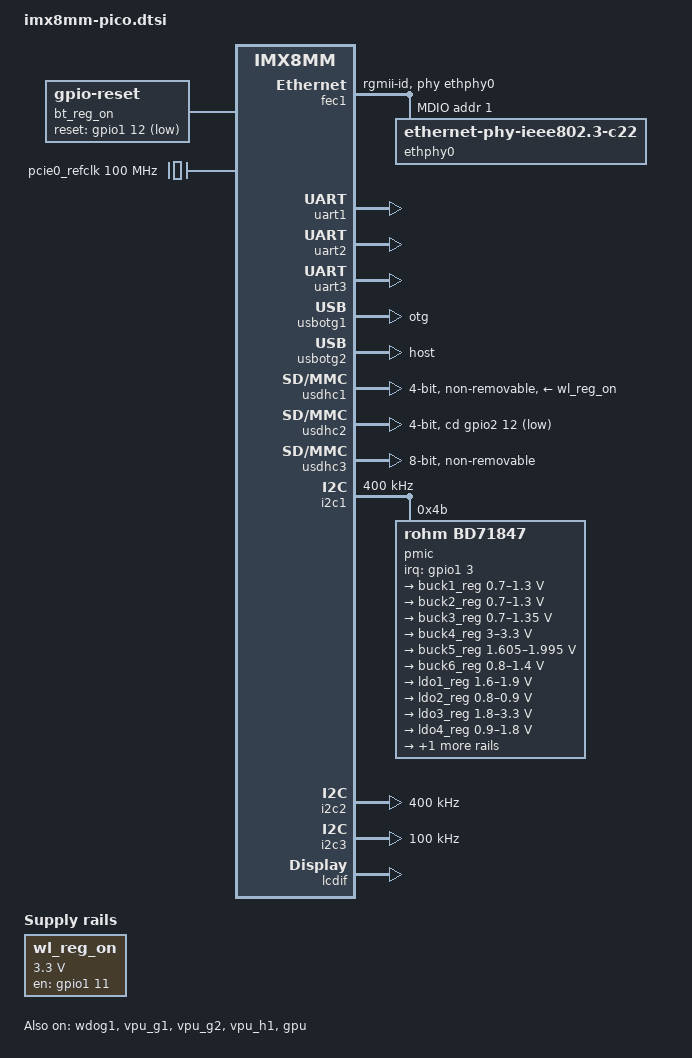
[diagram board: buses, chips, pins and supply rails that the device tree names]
// SPDX-License-Identifier: (GPL-2.0+ OR MIT)
/*
 * Copyright 2020 Technexion Ltd.
 *
 * Author: Richard Hu <richard.hu@technexion.com>
 *
 */

/dts-v1/;

#include <dt-bindings/usb/pd.h>
#include "imx8mm.dtsi"

/ {
	reserved-memory {
		#address-cells = <2>;
		#size-cells = <2>;
		ranges;

		rpmsg_reserved: rpmsg@b8000000 {
			no-map;
			reg = <0 0xb8000000 0 0x400000>;
		};
	};

	chosen {
		stdout-path = &uart2;
	};

	bt_reg_on: btreg_on {
		compatible = "gpio-reset";
		pinctrl-names = "default";
		pinctrl-0 = <&pinctrl_bt_ctrl>;
		reset-gpios = <&gpio1 12 GPIO_ACTIVE_LOW>;
		reset-delay-us = <2000>;
		reset-post-delay-ms = <40>;
		#reset-cells = <0>;
	};

	pcie0_refclk: pcie0-refclk {
		compatible = "fixed-clock";
		#clock-cells = <0>;
		clock-frequency = <100000000>;
	};

	regulators {
		compatible = "simple-bus";
		#address-cells = <1>;
		#size-cells = <0>;

		wl_reg_on: wlreg_on {
			compatible = "regulator-fixed";
			pinctrl-names = "default";
			pinctrl-0 = <&pinctrl_wifi_ctrl>;
			regulator-name = "WL_REG_ON";
			regulator-min-microvolt = <3300000>;
			regulator-max-microvolt = <3300000>;
			gpio = <&gpio1 11 GPIO_ACTIVE_HIGH>;
			off-on-delay = <20000>;
			startup-delay-us = <100>;
			enable-active-high;
		};
	};
};

&A53_0 {
	cpu-supply = <&buck2_reg>;
};

&fec1 {
	pinctrl-names = "default";
	pinctrl-0 = <&pinctrl_fec1>;
	phy-mode = "rgmii-id";
	phy-handle = <&ethphy0>;
	fsl,magic-packet;
	status = "okay";

	mdio {
		#address-cells = <1>;
		#size-cells = <0>;

		ethphy0: ethernet-phy@0 {
			compatible = "ethernet-phy-ieee802.3-c22";
			reg = <1>;
			at803x,led-act-blind-workaround;
			at803x,eee-disabled;
		};
	};
};

&pcie0{
	clocks = <&clk IMX8MM_CLK_PCIE1_ROOT>,
		 <&clk IMX8MM_CLK_PCIE1_AUX>,
		 <&clk IMX8MM_CLK_PCIE1_PHY>,
		 <&pcie0_refclk>;
	clock-names = "pcie", "pcie_aux", "pcie_phy", "pcie_bus";
	ext_osc = <0>;
	reserved-region = <&rpmsg_reserved>;
	status = "disabled";
};
&sai3 {
	pinctrl-names = "default";
	pinctrl-0 = <&pinctrl_sai3>;
	assigned-clocks = <&clk IMX8MM_CLK_SAI3>;
	assigned-clock-parents = <&clk IMX8MM_AUDIO_PLL1_OUT>;
	assigned-clock-rates = <24576000>;
	status = "disabled";
};

&sai2 {
	#sound-dai-cells = <0>;
	pinctrl-names = "default";
	pinctrl-0 = <&pinctrl_sai2>;
	assigned-clocks = <&clk IMX8MM_CLK_SAI2>;
	assigned-clock-parents = <&clk IMX8MM_AUDIO_PLL1_OUT>;
	assigned-clock-rates = <24576000>;
	status = "disabled";
};

&sai1 {
	pinctrl-names = "default", "dsd";
	pinctrl-0 = <&pinctrl_sai1>;
	assigned-clocks = <&clk IMX8MM_CLK_SAI1>;
	assigned-clock-parents = <&clk IMX8MM_AUDIO_PLL1_OUT>;
	assigned-clock-rates = <49152000>;
	clocks = <&clk IMX8MM_CLK_SAI1_IPG>, <&clk IMX8MM_CLK_DUMMY>,
		<&clk IMX8MM_CLK_SAI1_ROOT>, <&clk IMX8MM_CLK_DUMMY>,
		<&clk IMX8MM_CLK_DUMMY>, <&clk IMX8MM_AUDIO_PLL1_OUT>,
		<&clk IMX8MM_AUDIO_PLL2_OUT>;
	clock-names = "bus", "mclk0", "mclk1", "mclk2", "mclk3", "pll8k", "pll11k";
	status = "disabled";
};

&uart1 { /* BT */
	pinctrl-names = "default";
	pinctrl-0 = <&pinctrl_uart1>;
	assigned-clocks = <&clk IMX8MM_CLK_UART1>;
	assigned-clock-parents = <&clk IMX8MM_SYS_PLL1_80M>;
	fsl,uart-has-rtscts;
	resets = <&bt_reg_on>;
	status = "okay";
};

&uart2 { /* console */
	pinctrl-names = "default";
	pinctrl-0 = <&pinctrl_uart2>;
	status = "okay";
};

&uart3 {
	pinctrl-names = "default";
	pinctrl-0 = <&pinctrl_uart3>;
	assigned-clocks = <&clk IMX8MM_CLK_UART3>;
	assigned-clock-parents = <&clk IMX8MM_SYS_PLL1_80M>;
	fsl,uart-has-rtscts;
	status = "okay";
};

&usbotg1 {
	dr_mode = "otg";
	hnp-disable;
	srp-disable;
	adp-disable;
	usb-role-switch;
	picophy,pre-emp-curr-control = <3>;
	picophy,dc-vol-level-adjust = <7>;
	status = "okay";
};

&usbotg2 {
	dr_mode = "host";
	picophy,pre-emp-curr-control = <3>;
	picophy,dc-vol-level-adjust = <7>;
	status = "okay";
};

/* WIFI SDIO */
&usdhc1 {
	pinctrl-names = "default", "state_100mhz", "state_200mhz";
	pinctrl-0 = <&pinctrl_usdhc1>;
	pinctrl-1 = <&pinctrl_usdhc1_100mhz>;
	pinctrl-2 = <&pinctrl_usdhc1_200mhz>;
	bus-width = <4>;
	no-1-8-v;
	vmmc-supply = <&wl_reg_on>;
	pm-ignore-notify;
	keep-power-in-suspend;
	non-removable;
	status = "okay";
};

/* SD card on CLIX connector */
&usdhc2 {
	pinctrl-names = "default", "state_100mhz", "state_200mhz";
	pinctrl-0 = <&pinctrl_usdhc2>, <&pinctrl_usdhc2_gpio>;
	pinctrl-1 = <&pinctrl_usdhc2_100mhz>, <&pinctrl_usdhc2_gpio>;
	pinctrl-2 = <&pinctrl_usdhc2_200mhz>, <&pinctrl_usdhc2_gpio>;
	cd-gpios = <&gpio2 12 GPIO_ACTIVE_LOW>;
	bus-width = <4>;
	status = "okay";
};

/* eMMC on SOM */
&usdhc3 {
	pinctrl-names = "default", "state_100mhz", "state_200mhz";
	pinctrl-0 = <&pinctrl_usdhc3>;
	pinctrl-1 = <&pinctrl_usdhc3_100mhz>;
	pinctrl-2 = <&pinctrl_usdhc3_200mhz>;
	bus-width = <8>;
	non-removable;
	status = "okay";
};

&wdog1 {
	pinctrl-names = "default";
	pinctrl-0 = <&pinctrl_wdog>;
	fsl,ext-reset-output;
	status = "okay";
};

&ecspi2 {
	#address-cells = <1>;
	#size-cells = <0>;
	num-cs = <1>;
	pinctrl-names = "default";
	pinctrl-0 = <&pinctrl_ecspi2 &pinctrl_ecspi2_cs>;
	cs-gpios = <&gpio5 13 GPIO_ACTIVE_LOW>;
	status = "disabled";
};

&i2c1 {
	clock-frequency = <400000>;
	pinctrl-names = "default";
	pinctrl-0 = <&pinctrl_i2c1>;
	status = "okay";

	pmic@4b {
		compatible = "rohm,bd71847";
		reg = <0x4b>;
		pinctrl-0 = <&pinctrl_pmic>;
		interrupt-parent = <&gpio1>;
		interrupts = <3 GPIO_ACTIVE_LOW>;
		rohm,reset-snvs-powered;

		regulators {
			buck1_reg: BUCK1 {
				regulator-name = "BUCK1";
				regulator-min-microvolt = <700000>;
				regulator-max-microvolt = <1300000>;
				regulator-boot-on;
				regulator-always-on;
				regulator-ramp-delay = <1250>;
			};

			buck2_reg: BUCK2 {
				regulator-name = "BUCK2";
				regulator-min-microvolt = <700000>;
				regulator-max-microvolt = <1300000>;
				regulator-boot-on;
				regulator-always-on;
				regulator-ramp-delay = <1250>;
				rohm,dvs-run-voltage = <1000000>;
				rohm,dvs-idle-voltage = <900000>;
			};

			buck3_reg: BUCK3 {
				// BUCK5 in datasheet
				regulator-name = "BUCK3";
				regulator-min-microvolt = <700000>;
				regulator-max-microvolt = <1350000>;
				regulator-boot-on;
				regulator-always-on;
			};

			buck4_reg: BUCK4 {
				// BUCK6 in datasheet
				regulator-name = "BUCK4";
				regulator-min-microvolt = <3000000>;
				regulator-max-microvolt = <3300000>;
				regulator-boot-on;
				regulator-always-on;
			};

			buck5_reg: BUCK5 {
				// BUCK7 in datasheet
				regulator-name = "BUCK5";
				regulator-min-microvolt = <1605000>;
				regulator-max-microvolt = <1995000>;
				regulator-boot-on;
				regulator-always-on;
			};

			buck6_reg: BUCK6 {
				// BUCK8 in datasheet
				regulator-name = "BUCK6";
				regulator-min-microvolt = <800000>;
				regulator-max-microvolt = <1400000>;
				regulator-boot-on;
				regulator-always-on;
			};

			ldo1_reg: LDO1 {
				regulator-name = "LDO1";
				regulator-min-microvolt = <1600000>;
				regulator-max-microvolt = <1900000>;
				regulator-boot-on;
				regulator-always-on;
			};

			ldo2_reg: LDO2 {
				regulator-name = "LDO2";
				regulator-min-microvolt = <800000>;
				regulator-max-microvolt = <900000>;
				regulator-boot-on;
				regulator-always-on;
			};

			ldo3_reg: LDO3 {
				regulator-name = "LDO3";
				regulator-min-microvolt = <1800000>;
				regulator-max-microvolt = <3300000>;
				regulator-boot-on;
				regulator-always-on;
			};

			ldo4_reg: LDO4 {
				regulator-name = "LDO4";
				regulator-min-microvolt = <900000>;
				regulator-max-microvolt = <1800000>;
				regulator-boot-on;
				regulator-always-on;
			};

			ldo6_reg: LDO6 {
				regulator-name = "LDO6";
				regulator-min-microvolt = <900000>;
				regulator-max-microvolt = <1800000>;
				regulator-boot-on;
				regulator-always-on;
			};
		};
	};
};

&i2c2 {
	clock-frequency = <400000>;
	pinctrl-names = "default";
	pinctrl-0 = <&pinctrl_i2c2>;
	status = "okay";
};

&i2c3 {
	clock-frequency = <100000>;
	pinctrl-names = "default";
	pinctrl-0 = <&pinctrl_i2c3>;
	status = "okay";
};

&snvs_rtc {
	status = "disabled";
};

&iomuxc {
	pinctrl-names = "default";

	pinctrl_fec1: fec1grp {
		fsl,pins = <
			MX8MM_IOMUXC_ENET_MDC_ENET1_MDC			0x3
			MX8MM_IOMUXC_ENET_MDIO_ENET1_MDIO		0x3
			MX8MM_IOMUXC_ENET_TD3_ENET1_RGMII_TD3		0x1f
			MX8MM_IOMUXC_ENET_TD2_ENET1_RGMII_TD2		0x1f
			MX8MM_IOMUXC_ENET_TD1_ENET1_RGMII_TD1		0x1f
			MX8MM_IOMUXC_ENET_TD0_ENET1_RGMII_TD0		0x1f
			MX8MM_IOMUXC_ENET_RD3_ENET1_RGMII_RD3		0x91
			MX8MM_IOMUXC_ENET_RD2_ENET1_RGMII_RD2		0x91
			MX8MM_IOMUXC_ENET_RD1_ENET1_RGMII_RD1		0x91
			MX8MM_IOMUXC_ENET_RD0_ENET1_RGMII_RD0		0x91
			MX8MM_IOMUXC_ENET_TXC_ENET1_RGMII_TXC		0x1f
			MX8MM_IOMUXC_ENET_RXC_ENET1_RGMII_RXC		0x91
			MX8MM_IOMUXC_ENET_RX_CTL_ENET1_RGMII_RX_CTL	0x91
			MX8MM_IOMUXC_ENET_TX_CTL_ENET1_RGMII_TX_CTL	0x1f
			MX8MM_IOMUXC_SD1_RESET_B_GPIO2_IO10	0x19	/* ENET_nRST */
		>;
	};

	pinctrl_i2c1: i2c1grp {
		fsl,pins = <
			MX8MM_IOMUXC_I2C1_SCL_I2C1_SCL			0x400001c3
			MX8MM_IOMUXC_I2C1_SDA_I2C1_SDA			0x400001c3
		>;
	};

	pinctrl_i2c2: i2c2grp {
		fsl,pins = <
			MX8MM_IOMUXC_I2C2_SCL_I2C2_SCL			0x400001c3
			MX8MM_IOMUXC_I2C2_SDA_I2C2_SDA			0x400001c3
		>;
	};

	pinctrl_i2c3: i2c3grp {
		fsl,pins = <
			MX8MM_IOMUXC_I2C3_SCL_I2C3_SCL			0x400001c3
			MX8MM_IOMUXC_I2C3_SDA_I2C3_SDA			0x400001c3
		>;
	};

	pinctrl_pmic: pmicirq {
		fsl,pins = <
			MX8MM_IOMUXC_GPIO1_IO03_GPIO1_IO3		0x41
		>;
	};

	pinctrl_sai2: sai2grp {
		fsl,pins = <
			MX8MM_IOMUXC_SAI2_TXFS_SAI2_TX_SYNC	0xd6
			MX8MM_IOMUXC_SAI2_TXC_SAI2_TX_BCLK	0xd6
			MX8MM_IOMUXC_SAI2_MCLK_SAI2_MCLK	0xd6
			MX8MM_IOMUXC_SAI2_TXD0_SAI2_TX_DATA0	0xd6
			MX8MM_IOMUXC_SAI2_RXD0_SAI2_RX_DATA0	0xd6
		>;
	};

	pinctrl_sai3: sai3grp {
		fsl,pins = <
			MX8MM_IOMUXC_SAI3_TXFS_SAI3_TX_SYNC	0xd6
			MX8MM_IOMUXC_SAI3_TXC_SAI3_TX_BCLK	0xd6
			MX8MM_IOMUXC_SAI3_TXD_SAI3_TX_DATA0	0xd6
			MX8MM_IOMUXC_SAI3_RXD_SAI3_RX_DATA0	0xd6
		>;
	};

	/* Bluetooth audio */
	pinctrl_sai1: sai1grp {
		fsl,pins = <
			MX8MM_IOMUXC_SAI1_TXFS_SAI1_TX_SYNC	0xd6
			MX8MM_IOMUXC_SAI1_TXC_SAI1_TX_BCLK	0xd6
			MX8MM_IOMUXC_SAI1_TXD0_SAI1_TX_DATA0	0xd6
			MX8MM_IOMUXC_SAI1_RXD0_SAI5_RX_DATA0    0xd6
		>;
	};

	pinctrl_uart1: uart1grp {
		fsl,pins = <
			MX8MM_IOMUXC_UART1_RXD_UART1_DCE_RX	0x140
			MX8MM_IOMUXC_UART1_TXD_UART1_DCE_TX	0x140
			MX8MM_IOMUXC_UART3_RXD_UART1_DCE_CTS_B	0x140
			MX8MM_IOMUXC_UART3_TXD_UART1_DCE_RTS_B	0x140
		>;
	};

	pinctrl_uart2: uart2grp {
		fsl,pins = <
			MX8MM_IOMUXC_UART2_RXD_UART2_DCE_RX	0x140
			MX8MM_IOMUXC_UART2_TXD_UART2_DCE_TX	0x140
		>;
	};

	pinctrl_uart3: uart3grp {
		fsl,pins = <
			MX8MM_IOMUXC_ECSPI1_SCLK_UART3_DCE_RX		0x140
			MX8MM_IOMUXC_ECSPI1_MOSI_UART3_DCE_TX		0x140
			MX8MM_IOMUXC_ECSPI1_SS0_UART3_DCE_RTS_B		0x140
			MX8MM_IOMUXC_ECSPI1_MISO_UART3_DCE_CTS_B	0x140
		>;
	};

	pinctrl_usdhc1: usdhc1grp {
		fsl,pins = <
			MX8MM_IOMUXC_SD1_CLK_USDHC1_CLK		0x190
			MX8MM_IOMUXC_SD1_CMD_USDHC1_CMD		0x1d0
			MX8MM_IOMUXC_SD1_DATA0_USDHC1_DATA0	0x1d0
			MX8MM_IOMUXC_SD1_DATA1_USDHC1_DATA1	0x1d0
			MX8MM_IOMUXC_SD1_DATA2_USDHC1_DATA2	0x1d0
			MX8MM_IOMUXC_SD1_DATA3_USDHC1_DATA3	0x1d0
		>;
	};

	pinctrl_usdhc1_100mhz: usdhc1grp100mhz {
		fsl,pins = <
			MX8MM_IOMUXC_SD1_CLK_USDHC1_CLK		0x194
			MX8MM_IOMUXC_SD1_CMD_USDHC1_CMD		0x1d4
			MX8MM_IOMUXC_SD1_DATA0_USDHC1_DATA0	0x1d4
			MX8MM_IOMUXC_SD1_DATA1_USDHC1_DATA1	0x1d4
			MX8MM_IOMUXC_SD1_DATA2_USDHC1_DATA2	0x1d4
			MX8MM_IOMUXC_SD1_DATA3_USDHC1_DATA3	0x1d4
		>;
	};

	pinctrl_usdhc1_200mhz: usdhc1grp200mhz {
		fsl,pins = <
			MX8MM_IOMUXC_SD1_CLK_USDHC1_CLK		0x196
			MX8MM_IOMUXC_SD1_CMD_USDHC1_CMD		0x1d6
			MX8MM_IOMUXC_SD1_DATA0_USDHC1_DATA0	0x1d6
			MX8MM_IOMUXC_SD1_DATA1_USDHC1_DATA1	0x1d6
			MX8MM_IOMUXC_SD1_DATA2_USDHC1_DATA2	0x1d6
			MX8MM_IOMUXC_SD1_DATA3_USDHC1_DATA3	0x1d6
		>;
	};

	pinctrl_usdhc2_gpio: usdhc2grpgpio {
		fsl,pins = <
			MX8MM_IOMUXC_SD2_CD_B_GPIO2_IO12	0x1c4
		>;
	};

	pinctrl_usdhc2: usdhc2grp {
		fsl,pins = <
			MX8MM_IOMUXC_SD2_CLK_USDHC2_CLK		0x190
			MX8MM_IOMUXC_SD2_CMD_USDHC2_CMD		0x1d0
			MX8MM_IOMUXC_SD2_DATA0_USDHC2_DATA0	0x1d0
			MX8MM_IOMUXC_SD2_DATA1_USDHC2_DATA1	0x1d0
			MX8MM_IOMUXC_SD2_DATA2_USDHC2_DATA2	0x1d0
			MX8MM_IOMUXC_SD2_DATA3_USDHC2_DATA3	0x1d0
			MX8MM_IOMUXC_GPIO1_IO04_USDHC2_VSELECT	0x1d0
		>;
	};

	pinctrl_usdhc2_100mhz: usdhc2grp100mhz {
		fsl,pins = <
			MX8MM_IOMUXC_SD2_CLK_USDHC2_CLK		0x194
			MX8MM_IOMUXC_SD2_CMD_USDHC2_CMD		0x1d4
			MX8MM_IOMUXC_SD2_DATA0_USDHC2_DATA0	0x1d4
			MX8MM_IOMUXC_SD2_DATA1_USDHC2_DATA1	0x1d4
			MX8MM_IOMUXC_SD2_DATA2_USDHC2_DATA2	0x1d4
			MX8MM_IOMUXC_SD2_DATA3_USDHC2_DATA3	0x1d4
			MX8MM_IOMUXC_GPIO1_IO04_USDHC2_VSELECT	0x1d0
		>;
	};

	pinctrl_usdhc2_200mhz: usdhc2grp200mhz {
		fsl,pins = <
			MX8MM_IOMUXC_SD2_CLK_USDHC2_CLK		0x196
			MX8MM_IOMUXC_SD2_CMD_USDHC2_CMD		0x1d6
			MX8MM_IOMUXC_SD2_DATA0_USDHC2_DATA0	0x1d6
			MX8MM_IOMUXC_SD2_DATA1_USDHC2_DATA1	0x1d6
			MX8MM_IOMUXC_SD2_DATA2_USDHC2_DATA2	0x1d6
			MX8MM_IOMUXC_SD2_DATA3_USDHC2_DATA3	0x1d6
			MX8MM_IOMUXC_GPIO1_IO04_USDHC2_VSELECT	0x1d0
		>;
	};

	pinctrl_usdhc3: usdhc3grp {
		fsl,pins = <
			MX8MM_IOMUXC_NAND_WE_B_USDHC3_CLK		0x190
			MX8MM_IOMUXC_NAND_WP_B_USDHC3_CMD		0x1d0
			MX8MM_IOMUXC_NAND_DATA04_USDHC3_DATA0		0x1d0
			MX8MM_IOMUXC_NAND_DATA05_USDHC3_DATA1		0x1d0
			MX8MM_IOMUXC_NAND_DATA06_USDHC3_DATA2		0x1d0
			MX8MM_IOMUXC_NAND_DATA07_USDHC3_DATA3		0x1d0
			MX8MM_IOMUXC_NAND_RE_B_USDHC3_DATA4		0x1d0
			MX8MM_IOMUXC_NAND_CE2_B_USDHC3_DATA5		0x1d0
			MX8MM_IOMUXC_NAND_CE3_B_USDHC3_DATA6		0x1d0
			MX8MM_IOMUXC_NAND_CLE_USDHC3_DATA7		0x1d0
			MX8MM_IOMUXC_NAND_CE1_B_USDHC3_STROBE 		0x190
		>;
	};

	pinctrl_usdhc3_100mhz: usdhc3grp100mhz {
		fsl,pins = <
			MX8MM_IOMUXC_NAND_WE_B_USDHC3_CLK		0x194
			MX8MM_IOMUXC_NAND_WP_B_USDHC3_CMD		0x1d4
			MX8MM_IOMUXC_NAND_DATA04_USDHC3_DATA0		0x1d4
			MX8MM_IOMUXC_NAND_DATA05_USDHC3_DATA1		0x1d4
			MX8MM_IOMUXC_NAND_DATA06_USDHC3_DATA2		0x1d4
			MX8MM_IOMUXC_NAND_DATA07_USDHC3_DATA3		0x1d4
			MX8MM_IOMUXC_NAND_RE_B_USDHC3_DATA4		0x1d4
			MX8MM_IOMUXC_NAND_CE2_B_USDHC3_DATA5		0x1d4
			MX8MM_IOMUXC_NAND_CE3_B_USDHC3_DATA6		0x1d4
			MX8MM_IOMUXC_NAND_CLE_USDHC3_DATA7		0x1d4
			MX8MM_IOMUXC_NAND_CE1_B_USDHC3_STROBE 		0x194
		>;
	};

	pinctrl_usdhc3_200mhz: usdhc3grp200mhz {
		fsl,pins = <
			MX8MM_IOMUXC_NAND_WE_B_USDHC3_CLK		0x196
			MX8MM_IOMUXC_NAND_WP_B_USDHC3_CMD		0x1d6
			MX8MM_IOMUXC_NAND_DATA04_USDHC3_DATA0		0x1d6
			MX8MM_IOMUXC_NAND_DATA05_USDHC3_DATA1		0x1d6
			MX8MM_IOMUXC_NAND_DATA06_USDHC3_DATA2		0x1d6
			MX8MM_IOMUXC_NAND_DATA07_USDHC3_DATA3		0x1d6
			MX8MM_IOMUXC_NAND_RE_B_USDHC3_DATA4		0x1d6
			MX8MM_IOMUXC_NAND_CE2_B_USDHC3_DATA5		0x1d6
			MX8MM_IOMUXC_NAND_CE3_B_USDHC3_DATA6		0x1d6
			MX8MM_IOMUXC_NAND_CLE_USDHC3_DATA7		0x1d6
			MX8MM_IOMUXC_NAND_CE1_B_USDHC3_STROBE 		0x196
		>;
	};

	pinctrl_wdog: wdoggrp {
		fsl,pins = <
			MX8MM_IOMUXC_GPIO1_IO02_WDOG1_WDOG_B	0xc6
		>;
	};

	pinctrl_wifi_ctrl: wifi_ctrlgrp {
		fsl,pins = <
			MX8MM_IOMUXC_GPIO1_IO11_GPIO1_IO11	0x41 /* WL_REG_ON */
		>;
	};

	pinctrl_bt_ctrl: bt_ctrlgrp {
		fsl,pins = <
			MX8MM_IOMUXC_GPIO1_IO12_GPIO1_IO12	0x41 /* BT_REG_ON */
		>;
	};

	pinctrl_ecspi2: ecspi2grp {
		fsl,pins = <
			MX8MM_IOMUXC_ECSPI2_SCLK_ECSPI2_SCLK	0x82
			MX8MM_IOMUXC_ECSPI2_MOSI_ECSPI2_MOSI	0x82
			MX8MM_IOMUXC_ECSPI2_MISO_ECSPI2_MISO	0x82
		>;
	};

	pinctrl_ecspi2_cs: ecspi2cs {
		fsl,pins = <
			MX8MM_IOMUXC_ECSPI2_SS0_GPIO5_IO13	0x16
		>;
	};
};

&lcdif {
	status = "okay";
};

&vpu_g1 {
	status = "okay";
};

&vpu_g2 {
	status = "okay";
};

&vpu_h1 {
	status = "okay";
};

&gpu {
	status = "okay";
};
